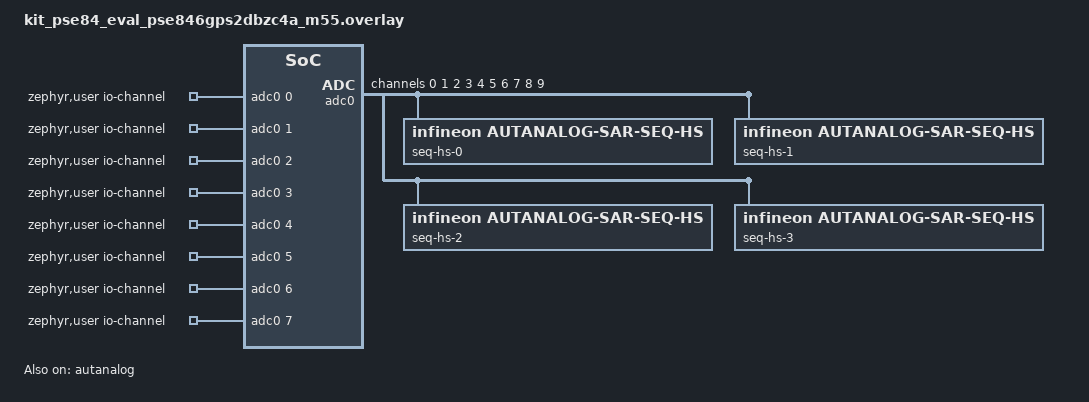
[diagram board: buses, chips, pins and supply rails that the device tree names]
/*
 * SPDX-FileCopyrightText: Copyright (c) 2026 Infineon Technologies AG,
 * SPDX-FileCopyrightText: or an affiliate of Infineon Technologies AG. All rights reserved.
 *
 * SPDX-License-Identifier: Apache-2.0
 */

#include <zephyr/dt-bindings/adc/adc.h>
#include <zephyr/dt-bindings/adc/infineon-autanalog-sar.h>

/ {
	zephyr,user {
		/* ADC channels: GPIO ch0~7, MUX ch8~9 */
		io-channels = <&adc0 0>, <&adc0 1>, <&adc0 2>, <&adc0 3>,
			      <&adc0 4>, <&adc0 5>, <&adc0 6>, <&adc0 7>,
			      <&adc0 8>, <&adc0 9>;
	};
};

&autanalog {
	status = "okay";
};

&adc0 {
	status = "okay";
	#address-cells = <1>;
	#size-cells = <0>;

	/* Static sample-time mode: four slots with distinct acquisition times.
	 * Each channel's zephyr,acquisition-time must match the slot selected by
	 * the sequencer entry that samples it (sample-time-sel).
	 */
	sample-times = <ADC_ACQ_TIME(ADC_ACQ_TIME_MICROSECONDS, 1)>,
		       <ADC_ACQ_TIME(ADC_ACQ_TIME_MICROSECONDS, 2)>,
		       <ADC_ACQ_TIME(ADC_ACQ_TIME_MICROSECONDS, 5)>,
		       <ADC_ACQ_TIME(ADC_ACQ_TIME_MICROSECONDS, 10)>;

	channel@0 {
		reg = <0>;
		zephyr,acquisition-time = <ADC_ACQ_TIME(ADC_ACQ_TIME_MICROSECONDS, 1)>;
		zephyr,gain = "ADC_GAIN_1";
		zephyr,reference = "ADC_REF_INTERNAL";
		zephyr,resolution = <12>;
		zephyr,input-positive = <0>;   /* P15.0 */
	};

	channel@1 {
		reg = <1>;
		zephyr,acquisition-time = <ADC_ACQ_TIME(ADC_ACQ_TIME_MICROSECONDS, 1)>;
		zephyr,gain = "ADC_GAIN_1";
		zephyr,reference = "ADC_REF_INTERNAL";
		zephyr,resolution = <12>;
		zephyr,input-positive = <1>;   /* P15.1 */
	};

	channel@2 {
		reg = <2>;
		zephyr,acquisition-time = <ADC_ACQ_TIME(ADC_ACQ_TIME_MICROSECONDS, 2)>;
		zephyr,gain = "ADC_GAIN_1";
		zephyr,reference = "ADC_REF_INTERNAL";
		zephyr,resolution = <12>;
		zephyr,input-positive = <2>;   /* P15.2 */
	};

	channel@3 {
		reg = <3>;
		zephyr,acquisition-time = <ADC_ACQ_TIME(ADC_ACQ_TIME_MICROSECONDS, 2)>;
		zephyr,gain = "ADC_GAIN_1";
		zephyr,reference = "ADC_REF_INTERNAL";
		zephyr,resolution = <12>;
		zephyr,input-positive = <3>;   /* P15.3 */
	};

	channel@4 {
		reg = <4>;
		zephyr,acquisition-time = <ADC_ACQ_TIME(ADC_ACQ_TIME_MICROSECONDS, 2)>;
		zephyr,gain = "ADC_GAIN_1";
		zephyr,reference = "ADC_REF_INTERNAL";
		zephyr,resolution = <12>;
		zephyr,input-positive = <4>;   /* P15.4 */
	};

	channel@5 {
		reg = <5>;
		zephyr,acquisition-time = <ADC_ACQ_TIME(ADC_ACQ_TIME_MICROSECONDS, 5)>;
		zephyr,gain = "ADC_GAIN_1";
		zephyr,reference = "ADC_REF_INTERNAL";
		zephyr,resolution = <12>;
		zephyr,input-positive = <5>;   /* P15.5 */
	};

	channel@6 {
		reg = <6>;
		zephyr,acquisition-time = <ADC_ACQ_TIME(ADC_ACQ_TIME_MICROSECONDS, 5)>;
		zephyr,gain = "ADC_GAIN_1";
		zephyr,reference = "ADC_REF_INTERNAL";
		zephyr,resolution = <12>;
		zephyr,input-positive = <6>;   /* P15.6 */
	};

	channel@7 {
		reg = <7>;
		zephyr,acquisition-time = <ADC_ACQ_TIME(ADC_ACQ_TIME_MICROSECONDS, 5)>;
		zephyr,gain = "ADC_GAIN_1";
		zephyr,reference = "ADC_REF_INTERNAL";
		zephyr,resolution = <12>;
		zephyr,input-positive = <7>;   /* P15.7 */
	};

	/* MUX channel: P15.0 via internal MUX routing.
	 * Channel ID 8 = MUX channel index 0.
	 */
	channel@8 {
		reg = <8>;
		zephyr,acquisition-time = <ADC_ACQ_TIME(ADC_ACQ_TIME_MICROSECONDS, 10)>;
		zephyr,gain = "ADC_GAIN_1";
		zephyr,reference = "ADC_REF_INTERNAL";
		zephyr,resolution = <12>;
		zephyr,input-positive = <IFX_AUTANALOG_SAR_PIN_MUX_GPIO0>;
		mux-buf-bypass;
	};

	/* MUX channel: P15.2 via internal MUX routing.
	 * Channel ID 9 = MUX channel index 1.
	 */
	channel@9 {
		reg = <9>;
		zephyr,acquisition-time = <ADC_ACQ_TIME(ADC_ACQ_TIME_MICROSECONDS, 10)>;
		zephyr,gain = "ADC_GAIN_1";
		zephyr,reference = "ADC_REF_INTERNAL";
		zephyr,resolution = <12>;
		zephyr,input-positive = <IFX_AUTANALOG_SAR_PIN_MUX_GPIO2>;
		mux-buf-bypass;
	};

	/* HS sequencer table: each entry samples several channels at once and
	 * selects its own sample-time slot via sample-time-sel.  All channels
	 * grouped in one entry must share that slot's acquisition time.  Entries
	 * are chained via next-action; the last one stops the scan.
	 */
	seq-hs-0 {
		compatible = "infineon,autanalog-sar-seq-hs";
		gpio-channels = <0x03>;  /* GPIO ch 0, 1 */
		sample-time-en;
		sample-time-sel = <IFX_AUTANALOG_SAR_SEQ_SAMPLE_TIME0>;  /* 1 us */
		next-action = <IFX_AUTANALOG_SAR_SEQ_NEXT_CONTINUE>;
	};

	seq-hs-1 {
		compatible = "infineon,autanalog-sar-seq-hs";
		gpio-channels = <0x1c>;  /* GPIO ch 2, 3, 4 */
		sample-time-en;
		sample-time-sel = <IFX_AUTANALOG_SAR_SEQ_SAMPLE_TIME1>;  /* 2 us */
		next-action = <IFX_AUTANALOG_SAR_SEQ_NEXT_CONTINUE>;
	};

	seq-hs-2 {
		compatible = "infineon,autanalog-sar-seq-hs";
		gpio-channels = <0xe0>;  /* GPIO ch 5, 6, 7 */
		sample-time-en;
		sample-time-sel = <IFX_AUTANALOG_SAR_SEQ_SAMPLE_TIME2>;  /* 5 us */
		next-action = <IFX_AUTANALOG_SAR_SEQ_NEXT_CONTINUE>;
	};

	seq-hs-3 {
		compatible = "infineon,autanalog-sar-seq-hs";
		mux-mode = <IFX_AUTANALOG_SAR_MUX0_MUX1_SINGLE_ENDED>;
		mux0-sel = <0>;  /* MUX ch 8 (MUX index 0) */
		mux1-sel = <1>;  /* MUX ch 9 (MUX index 1) */
		sample-time-en;
		sample-time-sel = <IFX_AUTANALOG_SAR_SEQ_SAMPLE_TIME3>;  /* 10 us */
		next-action = <IFX_AUTANALOG_SAR_SEQ_NEXT_STOP>;
	};
};

&gpio_prt15 {
	status = "okay";
};
